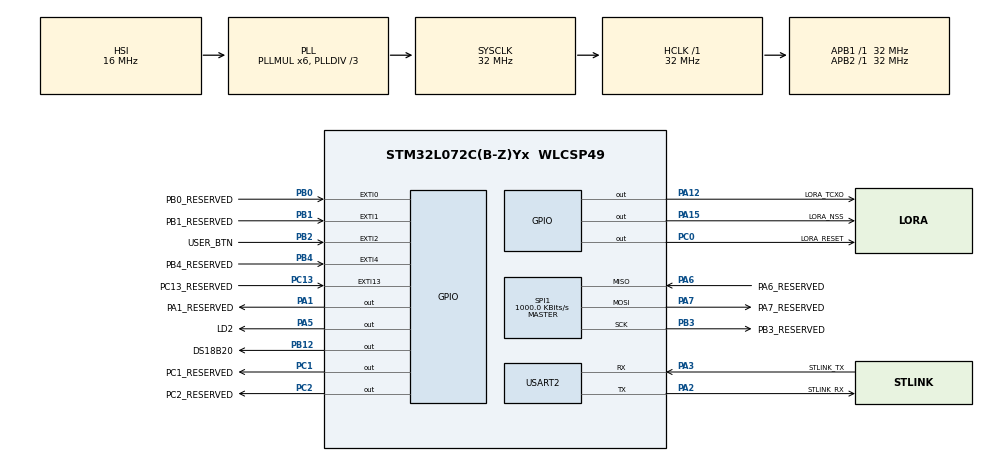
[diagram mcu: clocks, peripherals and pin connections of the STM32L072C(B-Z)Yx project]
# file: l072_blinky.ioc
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FREERTOS.BinarySemaphores01=buttonSem,Dynamic,NULL,Available
FREERTOS.Events01=wdgFlags,Dynamic,NULL
FREERTOS.Mutexes01=uartMutex,Dynamic,NULL,Available
FREERTOS.Queues01=tempQueue,4,uint16_t,0,Dynamic,NULL,NULL
FREERTOS.Tasks01=ledTask,24,128,StartLedTask,Default,NULL,Dynamic,NULL,NULL;uartTask,24,256,StartUartTask,Default,NULL,Dynamic,NULL,NULL;sensorTask,24,192,StartSensorTask,Default,NULL,Dynamic,NULL,NULL;wdgTask,32,128,StartWdgTask,Default,NULL,Dynamic,NULL,NULL
FREERTOS.configTOTAL_HEAP_SIZE=8000
FREERTOS.configUSE_TICKLESS_IDLE=1
IWDG.Prescaler=IWDG_PRESCALER_64
Mcu.Family=STM32L0
Mcu.Name=STM32L072C(B-Z)Yx
Mcu.Package=WLCSP49
NVIC.EXTI0_1_IRQn=true\:3\:0\:false\:false\:true\:true\:true\:true\:true
NVIC.EXTI2_3_IRQn=true\:3\:0\:false\:false\:true\:true\:true\:true\:true
NVIC.EXTI4_15_IRQn=true\:3\:0\:false\:false\:true\:true\:true\:true\:true
NVIC.RTC_IRQn=true\:3\:0\:false\:false\:true\:true\:true\:true\:true
NVIC.TIM21_IRQn=true\:3\:0\:false\:false\:true\:false\:false\:true\:true
NVIC.TimeBase=TIM21_IRQn
NVIC.TimeBaseIP=TIM21
NVIC.USART2_IRQn=true\:3\:0\:false\:false\:true\:true\:true\:true\:true
PA1.GPIO_Label=PA1_RESERVED
PA1.GPIO_Speed=GPIO_SPEED_FREQ_HIGH
PA1.PinState=GPIO_PIN_RESET
PA1.Signal=GPIO_Output
PA12.GPIO_Label=LORA_TCXO
PA12.GPIO_Speed=GPIO_SPEED_FREQ_HIGH
PA12.Signal=GPIO_Output
PA15.GPIO_Label=LORA_NSS
PA15.GPIO_Speed=GPIO_SPEED_FREQ_HIGH
PA15.PinState=GPIO_PIN_SET
PA15.Signal=GPIO_Output
PA2.GPIO_Label=STLINK_RX
PA2.Mode=Asynchronous
PA2.Signal=USART2_TX
PA3.GPIO_Label=STLINK_TX
PA3.Mode=Asynchronous
PA3.Signal=USART2_RX
PA5.GPIO_Label=LD2
PA5.Signal=GPIO_Output
PA6.GPIO_Label=PA6_RESERVED
PA6.Mode=Full_Duplex_Master
PA6.Signal=SPI1_MISO
PA7.GPIO_Label=PA7_RESERVED
PA7.Mode=Full_Duplex_Master
PA7.Signal=SPI1_MOSI
PB0.GPIO_Label=PB0_RESERVED
PB0.Signal=GPXTI0
PB1.GPIO_Label=PB1_RESERVED
PB1.Signal=GPXTI1
PB12.GPIO_Label=DS18B20
PB12.GPIO_ModeDefaultOutputPP=GPIO_MODE_OUTPUT_OD
PB12.GPIO_PuPd=GPIO_NOPULL
PB12.PinState=GPIO_PIN_SET
PB12.Signal=GPIO_Output
PB2.GPIO_Label=USER_BTN
PB2.Signal=GPXTI2
PB3.GPIO_Label=PB3_RESERVED
PB3.Mode=Full_Duplex_Master
PB3.Signal=SPI1_SCK
PB4.GPIO_Label=PB4_RESERVED
PB4.Signal=GPXTI4
PC0.GPIO_Label=LORA_RESET
PC0.GPIO_Speed=GPIO_SPEED_FREQ_HIGH
PC0.PinState=GPIO_PIN_SET
PC0.Signal=GPIO_Output
PC1.GPIO_Label=PC1_RESERVED
PC1.GPIO_Speed=GPIO_SPEED_FREQ_HIGH
PC1.Signal=GPIO_Output
PC13.GPIO_Label=PC13_RESERVED
PC13.Signal=GPXTI13
PC2.GPIO_Label=PC2_RESERVED
PC2.GPIO_Speed=GPIO_SPEED_FREQ_HIGH
PC2.Signal=GPIO_Output
PH0-OSC_IN.Signal=RCC_OSC_IN
PH1-OSC_OUT.Signal=RCC_OSC_OUT
ProjectManager.HeapSize=0x200
ProjectManager.StackSize=0x400
ProjectManager.TargetToolchain=CMake
RCC.AHBFreq_Value=32000000
RCC.APB1Freq_Value=32000000
RCC.APB1TimFreq_Value=32000000
RCC.APB2Freq_Value=32000000
RCC.APB2TimFreq_Value=32000000
RCC.HCLKFreq_Value=32000000
RCC.HSE_VALUE=8000000
RCC.HSI16_VALUE=16000000
RCC.HSI48_VALUE=48000000
RCC.HSI_VALUE=16000000
RCC.LSE_VALUE=32768
RCC.MSI_VALUE=2097000
RCC.PLLDIV=RCC_PLLDIV_3
RCC.PLLMUL=RCC_PLLMUL_6
RCC.SYSCLKFreq_VALUE=32000000
RCC.SYSCLKSource=RCC_SYSCLKSOURCE_PLLCLK
RCC.VCOOutputFreq_Value=96000000
RTC.Alarm-Alarm\ A=RTC_ALARM_A
RTC.AlarmSubSecondMask-Alarm\ A=RTC_ALARMSUBSECONDMASK_NONE
RTC.AsynchPrediv=31
RTC.Format=RTC_FORMAT_BIN
RTC.SynchPrediv=1023
SPI1.BaudRatePrescaler=SPI_BAUDRATEPRESCALER_32
SPI1.CalculateBaudRate=1000.0 KBits/s
SPI1.Direction=SPI_DIRECTION_2LINES
SPI1.Mode=SPI_MODE_MASTER
SPI1.VirtualType=VM_MASTER
USART2.VirtualMode-Asynchronous=VM_ASYNC
VP_FREERTOS_VS_CMSIS_V2.Mode=CMSIS_V2
VP_IWDG_VS_IWDG.Mode=IWDG_Activate
VP_RTC_VS_RTC_Activate.Mode=RTC_Enabled
VP_RTC_VS_RTC_Alarm_A_Intern.Mode=Alarm A
VP_RTC_VS_RTC_Calendar.Mode=RTC_Calendar
VP_SYS_VS_tim21.Mode=TIM21
VP_TIM2_VS_ClockSourceINT.Mode=Internal
board=B-L072Z-LRWAN1

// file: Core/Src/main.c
/* USER CODE BEGIN Header */
/**
  ******************************************************************************
  * @file           : main.c
  * @brief          : Main program body
  ******************************************************************************
  */
/* USER CODE END Header */
#include "main.h"
#include "cmsis_os.h"

/* USER CODE BEGIN Includes */
#include <stdio.h>
#include <stdint.h>
#include <string.h>
#include "app.h"
#include "ds18b20.h"
/* USER CODE END Includes */

IWDG_HandleTypeDef hiwdg;

RTC_HandleTypeDef hrtc;

SPI_HandleTypeDef hspi1;

TIM_HandleTypeDef htim2;

UART_HandleTypeDef huart2;

/* Definitions for ledTask */
osThreadId_t ledTaskHandle;
const osThreadAttr_t ledTask_attributes = {
  .name = "ledTask",
  .stack_size = 128 * 4,
  .priority = (osPriority_t) osPriorityNormal,
};
/* Definitions for uartTask */
osThreadId_t uartTaskHandle;
const osThreadAttr_t uartTask_attributes = {
  .name = "uartTask",
  .stack_size = 256 * 4,
  .priority = (osPriority_t) osPriorityNormal,
};
/* Definitions for sensorTask */
osThreadId_t sensorTaskHandle;
const osThreadAttr_t sensorTask_attributes = {
  .name = "sensorTask",
  .stack_size = 192 * 4,
  .priority = (osPriority_t) osPriorityNormal,
};
/* Definitions for wdgTask */
osThreadId_t wdgTaskHandle;
const osThreadAttr_t wdgTask_attributes = {
  .name = "wdgTask",
  .stack_size = 128 * 4,
  .priority = (osPriority_t) osPriorityAboveNormal,
};
/* Definitions for tempQueue */
osMessageQueueId_t tempQueueHandle;
const osMessageQueueAttr_t tempQueue_attributes = {
  .name = "tempQueue"
};
/* Definitions for uartMutex */
osMutexId_t uartMutexHandle;
const osMutexAttr_t uartMutex_attributes = {
  .name = "uartMutex"
};
/* Definitions for buttonSem */
osSemaphoreId_t buttonSemHandle;
const osSemaphoreAttr_t buttonSem_attributes = {
  .name = "buttonSem"
};
/* Definitions for wdgFlags */
osEventFlagsId_t wdgFlagsHandle;
const osEventFlagsAttr_t wdgFlags_attributes = {
  .name = "wdgFlags"
};

void SystemClock_Config(void);
static void MX_GPIO_Init(void);
static void MX_RTC_Init(void);
static void MX_SPI1_Init(void);
static void MX_USART2_UART_Init(void);
static void MX_TIM2_Init(void);
static void MX_IWDG_Init(void);
void StartLedTask(void *argument);
void StartUartTask(void *argument);
void StartSensorTask(void *argument);
void StartWdgTask(void *argument);

int main(void)
{

  /* USER CODE BEGIN 1 */
  extern uint32_t g_pfnVectors[];          /* this image's vector table (startup file) */
  SCB->VTOR = (uint32_t)g_pfnVectors;      /* runs at 0x08006200 under the bootloader */

  /* USER CODE END 1 */

  /* MCU Configuration--------------------------------------------------------*/

  /* Reset of all peripherals, Initializes the Flash interface and the Systick. */
  HAL_Init();

  /* Configure the system clock */
  SystemClock_Config();

  /* Initialize all configured peripherals */
  MX_GPIO_Init();
  MX_RTC_Init();
  MX_SPI1_Init();
  MX_USART2_UART_Init();
  MX_TIM2_Init();
  MX_IWDG_Init();
  /* USER CODE BEGIN 2 */
  ds18b20_init();
  app_report_reset_cause();
  /* USER CODE END 2 */

  /* Init scheduler */
  osKernelInitialize();
  /* Create the mutex(es) */
  /* creation of uartMutex */
  uartMutexHandle = osMutexNew(&uartMutex_attributes);

  /* Create the semaphores(s) */
  /* creation of buttonSem */
  buttonSemHandle = osSemaphoreNew(1, 1, &buttonSem_attributes);

  /* Create the queue(s) */
  /* creation of tempQueue */
  tempQueueHandle = osMessageQueueNew (4, sizeof(uint16_t), &tempQueue_attributes);

  /* Create the thread(s) */
  /* creation of ledTask */
  ledTaskHandle = osThreadNew(StartLedTask, NULL, &ledTask_attributes);

  /* creation of uartTask */
  uartTaskHandle = osThreadNew(StartUartTask, NULL, &uartTask_attributes);

  /* creation of sensorTask */
  sensorTaskHandle = osThreadNew(StartSensorTask, NULL, &sensorTask_attributes);

  /* creation of wdgTask */
  wdgTaskHandle = osThreadNew(StartWdgTask, NULL, &wdgTask_attributes);

  /* creation of wdgFlags */
  wdgFlagsHandle = osEventFlagsNew(&wdgFlags_attributes);

  /* Start scheduler */
  osKernelStart();

  /* We should never get here as control is now taken by the scheduler */

  /* Infinite loop */
  while (1)
  {

  }
}

void SystemClock_Config(void)
{
  RCC_OscInitTypeDef RCC_OscInitStruct = {0};
  RCC_ClkInitTypeDef RCC_ClkInitStruct = {0};
  RCC_PeriphCLKInitTypeDef PeriphClkInit = {0};

  /** Configure the main internal regulator output voltage
  */
  __HAL_PWR_VOLTAGESCALING_CONFIG(PWR_REGULATOR_VOLTAGE_SCALE1);

  /** Initializes the RCC Oscillators according to the specified parameters
  * in the RCC_OscInitTypeDef structure.
  */
  RCC_OscInitStruct.OscillatorType = RCC_OSCILLATORTYPE_HSI|RCC_OSCILLATORTYPE_LSI;
  RCC_OscInitStruct.HSIState = RCC_HSI_ON;
  RCC_OscInitStruct.HSICalibrationValue = RCC_HSICALIBRATION_DEFAULT;
  RCC_OscInitStruct.LSIState = RCC_LSI_ON;
  RCC_OscInitStruct.PLL.PLLState = RCC_PLL_ON;
  RCC_OscInitStruct.PLL.PLLSource = RCC_PLLSOURCE_HSI;
  RCC_OscInitStruct.PLL.PLLMUL = RCC_PLLMUL_6;
  RCC_OscInitStruct.PLL.PLLDIV = RCC_PLLDIV_3;
  if (HAL_RCC_OscConfig(&RCC_OscInitStruct) != HAL_OK)
  {
    Error_Handler();
  }

  /** Initializes the CPU, AHB and APB buses clocks
  */
  RCC_ClkInitStruct.ClockType = RCC_CLOCKTYPE_HCLK|RCC_CLOCKTYPE_SYSCLK
                              |RCC_CLOCKTYPE_PCLK1|RCC_CLOCKTYPE_PCLK2;
  RCC_ClkInitStruct.SYSCLKSource = RCC_SYSCLKSOURCE_PLLCLK;
  RCC_ClkInitStruct.AHBCLKDivider = RCC_SYSCLK_DIV1;
  RCC_ClkInitStruct.APB1CLKDivider = RCC_HCLK_DIV1;
  RCC_ClkInitStruct.APB2CLKDivider = RCC_HCLK_DIV1;

  if (HAL_RCC_ClockConfig(&RCC_ClkInitStruct, FLASH_LATENCY_1) != HAL_OK)
  {
    Error_Handler();
  }
  PeriphClkInit.PeriphClockSelection = RCC_PERIPHCLK_USART2|RCC_PERIPHCLK_RTC;
  PeriphClkInit.Usart2ClockSelection = RCC_USART2CLKSOURCE_PCLK1;
  PeriphClkInit.RTCClockSelection = RCC_RTCCLKSOURCE_LSI;
  if (HAL_RCCEx_PeriphCLKConfig(&PeriphClkInit) != HAL_OK)
  {
    Error_Handler();
  }
}

static void MX_IWDG_Init(void)
{

  hiwdg.Instance = IWDG;
  hiwdg.Init.Prescaler = IWDG_PRESCALER_64;
  hiwdg.Init.Window = 4095;
  hiwdg.Init.Reload = 4095;
  if (HAL_IWDG_Init(&hiwdg) != HAL_OK)
  {
    Error_Handler();
  }

}

static void MX_RTC_Init(void)
{

  RTC_TimeTypeDef sTime = {0};
  RTC_DateTypeDef sDate = {0};
  RTC_AlarmTypeDef sAlarm = {0};

  /** Initialize RTC Only
  */
  hrtc.Instance = RTC;
  hrtc.Init.HourFormat = RTC_HOURFORMAT_24;
  hrtc.Init.AsynchPrediv = 31;
  hrtc.Init.SynchPrediv = 1023;
  hrtc.Init.OutPut = RTC_OUTPUT_DISABLE;
  hrtc.Init.OutPutRemap = RTC_OUTPUT_REMAP_NONE;
  hrtc.Init.OutPutPolarity = RTC_OUTPUT_POLARITY_HIGH;
  hrtc.Init.OutPutType = RTC_OUTPUT_TYPE_OPENDRAIN;
  if (HAL_RTC_Init(&hrtc) != HAL_OK)
  {
    Error_Handler();
  }

  /** Initialize RTC and set the Time and Date
  */
  sTime.Hours = 0;
  sTime.Minutes = 0;
  sTime.Seconds = 0;
  sTime.DayLightSaving = RTC_DAYLIGHTSAVING_NONE;
  sTime.StoreOperation = RTC_STOREOPERATION_RESET;
  if (HAL_RTC_SetTime(&hrtc, &sTime, RTC_FORMAT_BIN) != HAL_OK)
  {
    Error_Handler();
  }
  sDate.WeekDay = RTC_WEEKDAY_MONDAY;
  sDate.Month = RTC_MONTH_JANUARY;
  sDate.Date = 1;
  sDate.Year = 0;

  if (HAL_RTC_SetDate(&hrtc, &sDate, RTC_FORMAT_BIN) != HAL_OK)
  {
    Error_Handler();
  }

  /** Enable the Alarm A
  */
  sAlarm.AlarmTime.Hours = 0;
  sAlarm.AlarmTime.Minutes = 0;
  sAlarm.AlarmTime.Seconds = 0;
  sAlarm.AlarmTime.SubSeconds = 0;
  sAlarm.AlarmTime.DayLightSaving = RTC_DAYLIGHTSAVING_NONE;
  sAlarm.AlarmTime.StoreOperation = RTC_STOREOPERATION_RESET;
  sAlarm.AlarmMask = RTC_ALARMMASK_NONE;
  sAlarm.AlarmSubSecondMask = RTC_ALARMSUBSECONDMASK_NONE;
  sAlarm.AlarmDateWeekDaySel = RTC_ALARMDATEWEEKDAYSEL_DATE;
  sAlarm.AlarmDateWeekDay = 1;
  sAlarm.Alarm = RTC_ALARM_A;
  if (HAL_RTC_SetAlarm_IT(&hrtc, &sAlarm, RTC_FORMAT_BIN) != HAL_OK)
  {
    Error_Handler();
  }

}

static void MX_SPI1_Init(void)
{

  /* SPI1 parameter configuration*/
  hspi1.Instance = SPI1;
  hspi1.Init.Mode = SPI_MODE_MASTER;
  hspi1.Init.Direction = SPI_DIRECTION_2LINES;
  hspi1.Init.DataSize = SPI_DATASIZE_8BIT;
  hspi1.Init.CLKPolarity = SPI_POLARITY_LOW;
  hspi1.Init.CLKPhase = SPI_PHASE_1EDGE;
  hspi1.Init.NSS = SPI_NSS_SOFT;
  hspi1.Init.BaudRatePrescaler = SPI_BAUDRATEPRESCALER_32;
  hspi1.Init.FirstBit = SPI_FIRSTBIT_MSB;
  hspi1.Init.TIMode = SPI_TIMODE_DISABLE;
  hspi1.Init.CRCCalculation = SPI_CRCCALCULATION_DISABLE;
  hspi1.Init.CRCPolynomial = 7;
  if (HAL_SPI_Init(&hspi1) != HAL_OK)
  {
    Error_Handler();
  }

}

static void MX_TIM2_Init(void)
{

  TIM_ClockConfigTypeDef sClockSourceConfig = {0};
  TIM_MasterConfigTypeDef sMasterConfig = {0};

  htim2.Instance = TIM2;
  htim2.Init.Prescaler = 0;
  htim2.Init.CounterMode = TIM_COUNTERMODE_UP;
  htim2.Init.Period = 65535;
  htim2.Init.ClockDivision = TIM_CLOCKDIVISION_DIV1;
  htim2.Init.AutoReloadPreload = TIM_AUTORELOAD_PRELOAD_DISABLE;
  if (HAL_TIM_Base_Init(&htim2) != HAL_OK)
  {
    Error_Handler();
  }
  sClockSourceConfig.ClockSource = TIM_CLOCKSOURCE_INTERNAL;
  if (HAL_TIM_ConfigClockSource(&htim2, &sClockSourceConfig) != HAL_OK)
  {
    Error_Handler();
  }
  sMasterConfig.MasterOutputTrigger = TIM_TRGO_RESET;
  sMasterConfig.MasterSlaveMode = TIM_MASTERSLAVEMODE_DISABLE;
  if (HAL_TIMEx_MasterConfigSynchronization(&htim2, &sMasterConfig) != HAL_OK)
  {
    Error_Handler();
  }
  /* USER CODE BEGIN TIM2_Init 2 */
  /* Force 1 MHz tick (32 MHz / (31+1)) for microsecond delays */
  htim2.Init.Prescaler = 31;
  if (HAL_TIM_Base_Init(&htim2) != HAL_OK)
  {
    Error_Handler();
  }
  /* USER CODE END TIM2_Init 2 */

}

static void MX_USART2_UART_Init(void)
{

  huart2.Instance = USART2;
  huart2.Init.BaudRate = 115200;
  huart2.Init.WordLength = UART_WORDLENGTH_8B;
  huart2.Init.StopBits = UART_STOPBITS_1;
  huart2.Init.Parity = UART_PARITY_NONE;
  huart2.Init.Mode = UART_MODE_TX_RX;
  huart2.Init.HwFlowCtl = UART_HWCONTROL_NONE;
  huart2.Init.OverSampling = UART_OVERSAMPLING_16;
  huart2.Init.OneBitSampling = UART_ONE_BIT_SAMPLE_DISABLE;
  huart2.AdvancedInit.AdvFeatureInit = UART_ADVFEATURE_NO_INIT;
  if (HAL_UART_Init(&huart2) != HAL_OK)
  {
    Error_Handler();
  }

}

static void MX_GPIO_Init(void)
{
  GPIO_InitTypeDef GPIO_InitStruct = {0};

  /* GPIO Ports Clock Enable */
  __HAL_RCC_GPIOA_CLK_ENABLE();
  __HAL_RCC_GPIOB_CLK_ENABLE();
  __HAL_RCC_GPIOC_CLK_ENABLE();
  __HAL_RCC_GPIOH_CLK_ENABLE();

  /*Configure GPIO pin Output Level */
  HAL_GPIO_WritePin(LORA_NSS_GPIO_Port, LORA_NSS_Pin, GPIO_PIN_SET);

  /*Configure GPIO pin Output Level */
  HAL_GPIO_WritePin(GPIOA, LORA_TCXO_Pin|PA1_RESERVED_Pin|LD2_Pin, GPIO_PIN_RESET);

  /*Configure GPIO pin Output Level */
  HAL_GPIO_WritePin(GPIOC, PC1_RESERVED_Pin|PC2_RESERVED_Pin, GPIO_PIN_RESET);

  /*Configure GPIO pin Output Level */
  HAL_GPIO_WritePin(LORA_RESET_GPIO_Port, LORA_RESET_Pin, GPIO_PIN_SET);

  /*Configure GPIO pin Output Level */
  HAL_GPIO_WritePin(DS18B20_GPIO_Port, DS18B20_Pin, GPIO_PIN_SET);

  /*Configure GPIO pins : LORA_NSS_Pin LORA_TCXO_Pin PA1_RESERVED_Pin */
  GPIO_InitStruct.Pin = LORA_NSS_Pin|LORA_TCXO_Pin|PA1_RESERVED_Pin;
  GPIO_InitStruct.Mode = GPIO_MODE_OUTPUT_PP;
  GPIO_InitStruct.Pull = GPIO_NOPULL;
  GPIO_InitStruct.Speed = GPIO_SPEED_FREQ_HIGH;
  HAL_GPIO_Init(GPIOA, &GPIO_InitStruct);

  /*Configure GPIO pins : PB4_RESERVED_Pin PB1_RESERVED_Pin USER_BTN_Pin PB0_RESERVED_Pin */
  GPIO_InitStruct.Pin = PB4_RESERVED_Pin|PB1_RESERVED_Pin|USER_BTN_Pin|PB0_RESERVED_Pin;
  GPIO_InitStruct.Mode = GPIO_MODE_IT_RISING;
  GPIO_InitStruct.Pull = GPIO_NOPULL;
  HAL_GPIO_Init(GPIOB, &GPIO_InitStruct);

  /*Configure GPIO pin : PC13_RESERVED_Pin */
  GPIO_InitStruct.Pin = PC13_RESERVED_Pin;
  GPIO_InitStruct.Mode = GPIO_MODE_IT_RISING;
  GPIO_InitStruct.Pull = GPIO_NOPULL;
  HAL_GPIO_Init(PC13_RESERVED_GPIO_Port, &GPIO_InitStruct);

  /*Configure GPIO pins : PC1_RESERVED_Pin LORA_RESET_Pin PC2_RESERVED_Pin */
  GPIO_InitStruct.Pin = PC1_RESERVED_Pin|LORA_RESET_Pin|PC2_RESERVED_Pin;
  GPIO_InitStruct.Mode = GPIO_MODE_OUTPUT_PP;
  GPIO_InitStruct.Pull = GPIO_NOPULL;
  GPIO_InitStruct.Speed = GPIO_SPEED_FREQ_HIGH;
  HAL_GPIO_Init(GPIOC, &GPIO_InitStruct);

  /*Configure GPIO pin : DS18B20_Pin */
  GPIO_InitStruct.Pin = DS18B20_Pin;
  GPIO_InitStruct.Mode = GPIO_MODE_OUTPUT_OD;
  GPIO_InitStruct.Pull = GPIO_NOPULL;
  GPIO_InitStruct.Speed = GPIO_SPEED_FREQ_LOW;
  HAL_GPIO_Init(DS18B20_GPIO_Port, &GPIO_InitStruct);

  /*Configure GPIO pin : LD2_Pin */
  GPIO_InitStruct.Pin = LD2_Pin;
  GPIO_InitStruct.Mode = GPIO_MODE_OUTPUT_PP;
  GPIO_InitStruct.Pull = GPIO_NOPULL;
  GPIO_InitStruct.Speed = GPIO_SPEED_FREQ_LOW;
  HAL_GPIO_Init(LD2_GPIO_Port, &GPIO_InitStruct);

  /* EXTI interrupt init*/
  HAL_NVIC_SetPriority(EXTI0_1_IRQn, 3, 0);
  HAL_NVIC_EnableIRQ(EXTI0_1_IRQn);

  HAL_NVIC_SetPriority(EXTI2_3_IRQn, 3, 0);
  HAL_NVIC_EnableIRQ(EXTI2_3_IRQn);

  HAL_NVIC_SetPriority(EXTI4_15_IRQn, 3, 0);
  HAL_NVIC_EnableIRQ(EXTI4_15_IRQn);

}

void StartLedTask(void *argument)
{
  /* USER CODE BEGIN 5 */
  app_led_task();
  /* USER CODE END 5 */
}

/* USER CODE BEGIN Header_StartUartTask */
/**
* @brief Function implementing the uartTask thread (now the logger).
* @param argument: Not used
* @retval None
*/
/* USER CODE END Header_StartUartTask */
void StartUartTask(void *argument)
{
  /* USER CODE BEGIN StartUartTask */
  app_logger_task();
  /* USER CODE END StartUartTask */
}

void StartSensorTask(void *argument)
{
  /* USER CODE BEGIN StartSensorTask */
  app_sensor_task();
  /* USER CODE END StartSensorTask */
}

void StartWdgTask(void *argument)
{
  /* USER CODE BEGIN StartWdgTask */
  app_watchdog_task();
  /* USER CODE END StartWdgTask */
}

void HAL_TIM_PeriodElapsedCallback(TIM_HandleTypeDef *htim)
{
  if (htim->Instance == TIM21)
  {
    HAL_IncTick();
  }
}

void Error_Handler(void)
{
  __disable_irq();
  while (1)
  {
  }
}

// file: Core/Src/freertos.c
/* USER CODE BEGIN Header */
/**
  ******************************************************************************
  * File Name          : freertos.c
  * Description        : Code for freertos applications
  ******************************************************************************
  * @attention
  *
  * Copyright (c) 2026 STMicroelectronics.
  * All rights reserved.
  *
  * This software is licensed under terms that can be found in the LICENSE file
  * in the root directory of this software component.
  * If no LICENSE file comes with this software, it is provided AS-IS.
  *
  ******************************************************************************
  */
/* USER CODE END Header */

#include "FreeRTOS.h"
#include "task.h"
#include "main.h"

/* USER CODE BEGIN PREPOSTSLEEP */
__weak void PreSleepProcessing(uint32_t *ulExpectedIdleTime)
{
/* place for user code */
}

__weak void PostSleepProcessing(uint32_t *ulExpectedIdleTime)
{
/* place for user code */
}
/* USER CODE END PREPOSTSLEEP */
